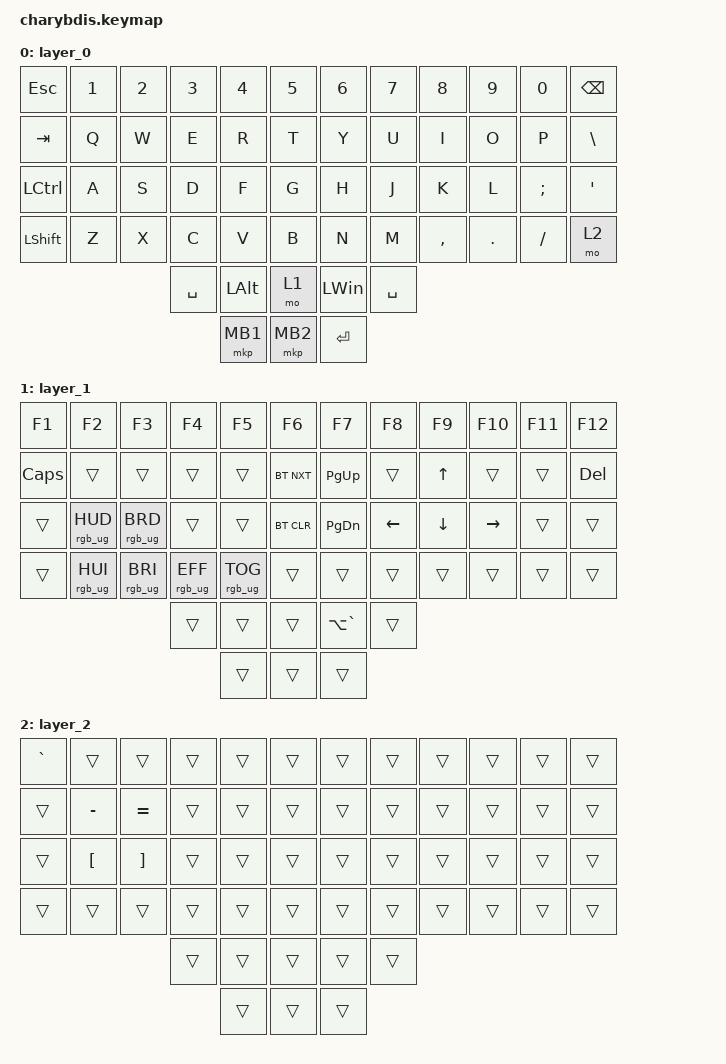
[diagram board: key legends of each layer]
#include <behaviors.dtsi>
#include <dt-bindings/zmk/bt.h>
#include <dt-bindings/zmk/keys.h>
#include <dt-bindings/zmk/pointing.h>
#include <dt-bindings/zmk/rgb.h>

&lt {
    tapping-term-ms = <200>;
    flavor = "balanced";
    quick-tap-ms = <150>;
};

/ {
    macros {
        Mo1_macro: Mo1_macro {
            compatible = "zmk,behavior-macro";
            label = "Mo1_macro";
            #binding-cells = <0>;
            bindings =
                <&macro_press>,
                <&mo 1>,
                <&macro_tap>,
                <&rgb_ug RGB_EFF &rgb_ug RGB_COLOR_HSB(128,100,50)>,
                <&macro_wait_time 30>,
                <&macro_pause_for_release>,
                <&macro_release>,
                <&mo 1>,
                <&macro_wait_time 30>,
                <&macro_tap>,
                <&rgb_ug RGB_EFR>;
        };

        Mo2_macro: Mo2_macro {
            compatible = "zmk,behavior-macro";
            label = "Mo2_macro";
            #binding-cells = <0>;
            bindings =
                <&macro_press>,
                <&mo 2>,
                <&macro_tap>,
                <&rgb_ug RGB_EFF &rgb_ug RGB_COLOR_HSB(200,100,50)>,
                <&macro_wait_time 30>,
                <&macro_pause_for_release>,
                <&macro_release>,
                <&mo 2>,
                <&macro_wait_time 30>,
                <&macro_tap>,
                <&rgb_ug RGB_EFR>;
        };

        Mo3_macro: Mo3_macro {
            compatible = "zmk,behavior-macro";
            label = "Mo3_macro";
            #binding-cells = <0>;
            bindings =
                <&macro_press>,
                <&mo 3>,
                <&macro_tap>,
                <&rgb_ug RGB_EFF &rgb_ug RGB_COLOR_HSB(300,100,50)>,
                <&macro_wait_time 30>,
                <&macro_pause_for_release>,
                <&macro_release>,
                <&mo 3>,
                <&macro_wait_time 30>,
                <&macro_tap>,
                <&rgb_ug RGB_EFR>;
        };

        To1_macro: To1_macro {
            compatible = "zmk,behavior-macro";
            label = "To1_macro";
            #binding-cells = <0>;
            bindings = <&rgb_ug RGB_EFF &rgb_ug RGB_COLOR_HSB(128,100,50) &to 1>;
        };

        To0_macro: To0_macro {
            compatible = "zmk,behavior-macro";
            label = "To0_macro";
            #binding-cells = <0>;
            bindings = <&rgb_ug RGB_EFR &to 0>;
        };

        To2_macro: To2_macro {
            compatible = "zmk,behavior-macro";
            label = "To2_macro";
            #binding-cells = <0>;
            bindings =
                <&to 2>,
                <&macro_wait_time 30>,
                <&rgb_ug RGB_COLOR_HSB(250,100,50)>;
        };
    };

    keymap {
        compatible = "zmk,keymap";

        layer_0 {
            bindings = <
&kp ESC           &kp N1  &kp N2  &kp N3     &kp N4        &kp N5      &kp N6     &kp N7     &kp N8     &kp N9      &kp N0    &kp BACKSPACE
&kp TAB           &kp Q   &kp W   &kp E      &kp R         &kp T       &kp Y      &kp U      &kp I      &kp O       &kp P     &kp BSLH
&kp LEFT_CONTROL  &kp A   &kp S   &kp D      &kp F         &kp G       &kp H      &kp J      &kp K      &kp L       &kp SEMI  &kp SQT
&kp LEFT_SHIFT    &kp Z   &kp X   &kp C      &kp V         &kp B       &kp N      &kp M      &kp COMMA  &kp PERIOD  &kp FSLH  &mo 2
                                  &kp SPACE  &kp LEFT_ALT  &mo 1       &kp LWIN   &kp SPACE
                                             &mkp MB1      &mkp MB2    &kp ENTER
            >;
        };

        layer_1 {
            bindings = <
&kp F1    &kp F2           &kp F3           &kp F4           &kp F5           &kp F6        &kp F7         &kp F8    &kp F9    &kp F10    &kp F11  &kp F12
&kp CAPS  &trans           &trans           &trans           &trans           &bt BT_NXT    &kp PAGE_UP    &trans    &kp UP    &trans     &trans   &kp DEL
&trans    &rgb_ug RGB_HUD  &rgb_ug RGB_BRD  &trans           &trans           &bt BT_CLR    &kp PAGE_DOWN  &kp LEFT  &kp DOWN  &kp RIGHT  &trans   &trans
&trans    &rgb_ug RGB_HUI  &rgb_ug RGB_BRI  &rgb_ug RGB_EFF  &rgb_ug RGB_TOG  &trans        &trans         &trans    &trans    &trans     &trans   &trans
                                            &trans           &trans           &trans        &kp LA(GRAVE)  &trans
                                                             &trans           &trans        &trans
            >;
        };

        layer_2 {
            bindings = <
&kp GRAVE  &trans            &trans             &trans  &trans  &trans    &trans  &trans  &trans  &trans  &trans  &trans
&trans     &kp MINUS         &kp EQUAL          &trans  &trans  &trans    &trans  &trans  &trans  &trans  &trans  &trans
&trans     &kp LEFT_BRACKET  &kp RIGHT_BRACKET  &trans  &trans  &trans    &trans  &trans  &trans  &trans  &trans  &trans
&trans     &trans            &trans             &trans  &trans  &trans    &trans  &trans  &trans  &trans  &trans  &trans
                                                &trans  &trans  &trans    &trans  &trans
                                                        &trans  &trans    &trans
            >;
        };

        /* layer_2 {
            bindings = <
&none  &none   &none    &none   &none         &none         &kp N1         &none         &none     &none  &none   &to 0
&none  &none   &none    &none   &none         &none         &none         &none          &rgb_ug RGB_BRD &rgb_ug RGB_BRI  &rgb_ug RGB_EFF   &rgb_ug RGB_TOG
&none  &none   &none    &none   &none         &none         &none         &mkp LCLK     &mkp RCLK  &none  &none   &none
&none  &none   &none    &none   &bt BT_NXT  &bt BT_CLR    &none         &none         &none     &none  &none   &none
                                   &none         &none         &none         &none         &none
                                                 &none         &none         &none
            >;
       
            
        };

       Mouse {
            bindings = <
&none        &none         &none         &none         &none      &none         &none       &none      &none         &none         &none         &none
&none        &bt BT_SEL 0  &bt BT_SEL 1  &bt BT_SEL 3  &none      &bt BT_CLR    &bt BT_CLR  &none      &bt BT_SEL 2  &bt BT_SEL 1  &bt BT_SEL 0  &none
&none        &trans        &trans        &mkp MCLK     &trans     &none         &none       &trans     &mkp MCLK     &trans        &trans        &none
&bootloader  &trans        &mkp RCLK     &mo 4         &mkp LCLK  &mo 5         &mo 5       &mkp LCLK  &mo 4         &mkp RCLK     &trans        &bootloader
                                         &mo 5         &mkp LCLK  &mkp RCLK     &mkp RCLK   &mkp LCLK
                                                       &none      &trans        &trans
            >;

            
        };

        layer_4 {
            bindings = <
&trans  &trans  &trans     &trans     &trans     &trans       &trans     &trans     &trans     &trans     &trans  &trans
&trans  &trans  &trans     &trans     &trans     &trans       &trans     &trans     &trans     &trans     &trans  &trans
&trans  &trans  &trans     &mkp MCLK  &trans     &trans       &trans     &trans     &mkp MCLK  &trans     &trans  &trans
&trans  &trans  &mkp RCLK  &trans     &mkp LCLK  &trans       &trans     &mkp LCLK  &trans     &mkp RCLK  &trans  &trans
                           &trans     &mkp LCLK  &mkp RCLK    &mkp RCLK  &mkp LCLK
                                      &trans     &trans       &trans
            >;
                
                
               
        };

        layer_5 {
            bindings = <
&trans  &trans  &trans     &trans     &trans     &trans       &trans     &trans     &trans     &trans     &trans  &trans
&trans  &trans  &trans     &trans     &trans     &trans       &trans     &trans     &trans     &trans     &trans  &trans
&trans  &trans  &trans     &mkp MCLK  &trans     &trans       &trans     &trans     &mkp MCLK  &trans     &trans  &trans
&trans  &trans  &mkp RCLK  &trans     &mkp LCLK  &trans       &trans     &mkp LCLK  &trans     &mkp RCLK  &trans  &trans
                           &trans     &mkp LCLK  &mkp RCLK    &mkp RCLK  &mkp LCLK
                                      &trans     &trans       &trans
            >;
                
                
        };*/
    };
};
